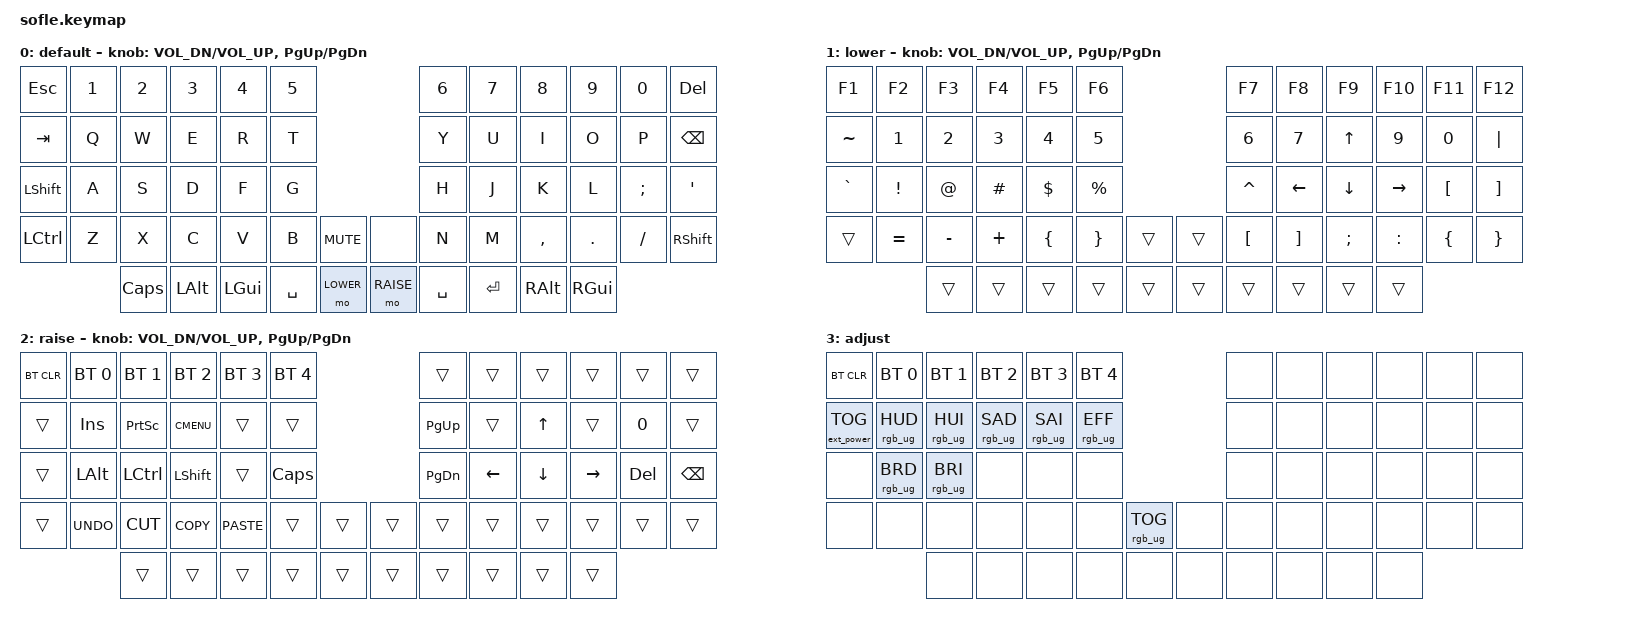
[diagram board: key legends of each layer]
/*
 * Copyright (c) 2020 The ZMK Contributors
 *
 * SPDX-License-Identifier: MIT
 */

#include <behaviors.dtsi>
#include <dt-bindings/zmk/keys.h>
#include <dt-bindings/zmk/bt.h>
#include <dt-bindings/zmk/rgb.h>
#include <dt-bindings/zmk/ext_power.h>

#define BASE 0
#define LOWER 1
#define RAISE 2
#define ADJUST 3

/ {

   // Activate ADJUST layer by pressing raise and lower
    conditional_layers {
        compatible = "zmk,conditional-layers";
        adjust_layer {
            if-layers = <LOWER RAISE>;
            then-layer = <ADJUST>;
        };
    };

    macros {
        alt_tab: alt_tab {
            compatible = "zmk,behavior-macro";
            #binding-cells = <0>;
            bindings
                = <&macro_press &kp LALT>
                , <&macro_tap &kp TAB>
                , <&macro_release &kp LALT>
                ;
        };

        alt_tab_reverse: alt_tab_reverse {
            compatible = "zmk,behavior-macro";
            #binding-cells = <0>;
            bindings
                = <&macro_press &kp LALT>
                , <&macro_press &kp LSHIFT>
                , <&macro_tap &kp TAB>
                , <&macro_release &kp LSHIFT>
                , <&macro_release &kp LALT>
                ;
        };
    };

    keymap {
        compatible = "zmk,keymap";

        default_layer {
            display-name = "default";
// -------------------------------------------------------------------------------------------------------------
// |  ESC  |  1  |  2  |  3   |  4   |  5   |                   |  6   |  7    |  8    |  9    |   0   | DEL   |
// |  TAB  |  Q  |  W  |  E   |  R   |  T   |                   |  Y   |  U    |  I    |  O    |   P   | BSPC |
// | SHIFT |  A  |  S  |  D   |  F   |  G   |                   |  H   |  J    |  K    |  L    |   ;   |   '   |
// | CTRL  |  Z  |  X  |  C   |  V   |  B   |  MUTE  |  |       |  N   |  M    |  ,    |  .    |   /   | SHIFT |
//               | CAPS| ALT  | WIN  | SPACE|  LOWER |  | RAISE | SPACE| ENTER | ALT   |  WIN  |
            bindings = <
&kp ESC    &kp N1  &kp N2    &kp N3    &kp N4    &kp N5                            &kp N6     &kp N7     &kp N8     &kp N9    &kp N0    &kp DEL
&kp TAB    &kp Q   &kp W     &kp E     &kp R     &kp T                             &kp Y      &kp U      &kp I      &kp O     &kp P     &kp BSPC
&kp LSHFT  &kp A   &kp S     &kp D     &kp F     &kp G                             &kp H      &kp J      &kp K      &kp L     &kp SEMI  &kp SQT
&kp LCTRL   &kp Z  &kp X     &kp C     &kp V     &kp B      &kp C_MUTE  &none      &kp N      &kp M      &kp COMMA  &kp DOT   &kp FSLH  &kp RSHFT
                   &kp CAPS  &kp LALT  &kp LGUI  &kp SPACE  &mo LOWER   &mo RAISE  &kp SPACE  &kp RET  &kp RALT   &kp RGUI
            >;

            sensor-bindings = <&inc_dec_kp C_VOL_DN C_VOL_UP &inc_dec_kp PG_UP PG_DN>;
        };

        lower_layer {
            display-name = "lower";
// TODO: Some binds are waiting for shifted keycode support.
// ------------------------------------------------------------------------------------------------------------
// |   F1  |  F2 |  F3 |  F4  |  F5  |  F6  |                   |  F6  |  F8   |  F9   |  F10 |  F11  |  F12  |
// |   ~   |  1  |  2  |  3   |  4   |  5   |                   |  6   |  7    |   ^   |  9   |   0   |   |   |
// |   `   |  !  |  @  |  #   |  $   |  %   |                   |  ^   |   <-  |   v   |  ->  |   [   |   ]   | 
// |       |  =  |  -  |  +   |  {   |  }   |        |  |       |  [   |  ]    |  ;    |  :   |   {   |   }   |
//               |     |      |      |      |        |  |       |      |       |       |      |
            bindings = <
&kp F1     &kp F2     &kp F3     &kp F4      &kp F5    &kp F6                     &kp F7     &kp F8    &kp F9    &kp F10    &kp F11   &kp F12
&kp TILDE  &kp N1     &kp N2     &kp N3      &kp N4    &kp N5                     &kp N6     &kp N7    &kp UP    &kp N9     &kp N0    &kp PIPE
&kp GRAVE  &kp EXCL   &kp AT     &kp HASH    &kp DLLR  &kp PRCNT                  &kp CARET  &kp LEFT  &kp DOWN  &kp RIGHT  &kp LBKT  &kp RBKT
&trans     &kp EQUAL  &kp MINUS  &kp PLUS    &kp LBRC  &kp RBRC   &trans  &trans  &kp LBKT   &kp RBKT  &kp SEMI  &kp COLON  &kp LBRC  &kp RBRC
                      &trans     &trans      &trans    &trans     &trans  &trans  &trans     &trans    &trans    &trans
            >;

            sensor-bindings = <&inc_dec_kp C_VOL_DN C_VOL_UP &inc_dec_kp PG_UP PG_DN>;
        };

        raise_layer {
            display-name = "raise";
// ------------------------------------------------------------------------------------------------------------
// | BTCLR | BT0  | BT1  |  BT2  |  BT3  |  BT4 |                |      |      |       |      |   =   |       |
// |       | INS  | PSCR | GUI   |       |      |                | PGUP |      |   ^   |      |       |       |
// |       | ALT  | CTRL | SHIFT |       | CAPS |                | PGDN |   <- |   v   |  ->  |  DEL  | BKSPC |
// |       | UNDO | CUT  | COPY  | PASTE |      |      |  |      |      |      |       |      |       |       |
//                |      |       |       |      |      |  |      |      |      |       |      |
            bindings = <
&bt BT_CLR  &bt BT_SEL 0  &bt BT_SEL 1  &bt BT_SEL 2  &bt BT_SEL 3  &bt BT_SEL 4                  &trans     &trans    &trans    &trans     &trans   &trans
&trans      &kp INS       &kp PSCRN     &kp K_CMENU   &trans        &trans                        &kp PG_UP  &trans    &kp UP    &trans     &kp N0   &trans
&trans      &kp LALT      &kp LCTRL     &kp LSHFT     &trans        &kp CLCK                      &kp PG_DN  &kp LEFT  &kp DOWN  &kp RIGHT  &kp DEL  &kp BSPC
&trans      &kp K_UNDO    &kp K_CUT     &kp K_COPY    &kp K_PASTE   &trans        &trans  &trans  &trans     &trans    &trans    &trans     &trans   &trans
                          &trans        &trans        &trans        &trans        &trans  &trans  &trans     &trans    &trans    &trans
            >;

            sensor-bindings = <&inc_dec_kp C_VOL_DN C_VOL_UP &inc_dec_kp PG_UP PG_DN>;
        };

        adjust_layer {
// ----------------------------------------------------------------------------------------------------------------------------
// | BTCLR  |  BT0    |  BT1   |   BT2    |   BT3   |   BT4   |                  |      |      |       |      |       |       |
// | EXTPWR | RGB_HUD | RGB_HUI | RGB_SAD | RGB_SAI | RGB_EFF |                  |      |      |       |      |       |       |
// |        | RGB_BRD | RGB_BRI |         |         |         |                  |      |      |       |      |       |       |
// |        |         |         |         |         |         | RGB_TOG | |      |      |      |       |      |       |       |
//                    |         |         |         |         |         | |      |      |      |       |      |
            display-name = "adjust";
            bindings = <
&bt BT_CLR         &bt BT_SEL 0     &bt BT_SEL 1     &bt BT_SEL 2     &bt BT_SEL 3     &bt BT_SEL 4                              &none  &none  &none  &none  &none  &none
&ext_power EP_TOG  &rgb_ug RGB_HUD  &rgb_ug RGB_HUI  &rgb_ug RGB_SAD  &rgb_ug RGB_SAI  &rgb_ug RGB_EFF                           &none  &none  &none  &none  &none  &none
&none              &rgb_ug RGB_BRD  &rgb_ug RGB_BRI  &none            &none            &none                                     &none  &none  &none  &none  &none  &none
&none              &none            &none            &none            &none            &none             &rgb_ug RGB_TOG  &none  &none  &none  &none  &none  &none  &none
                                    &none            &none            &none            &none             &none            &none  &none  &none  &none  &none
            >;
        };

    };
};
